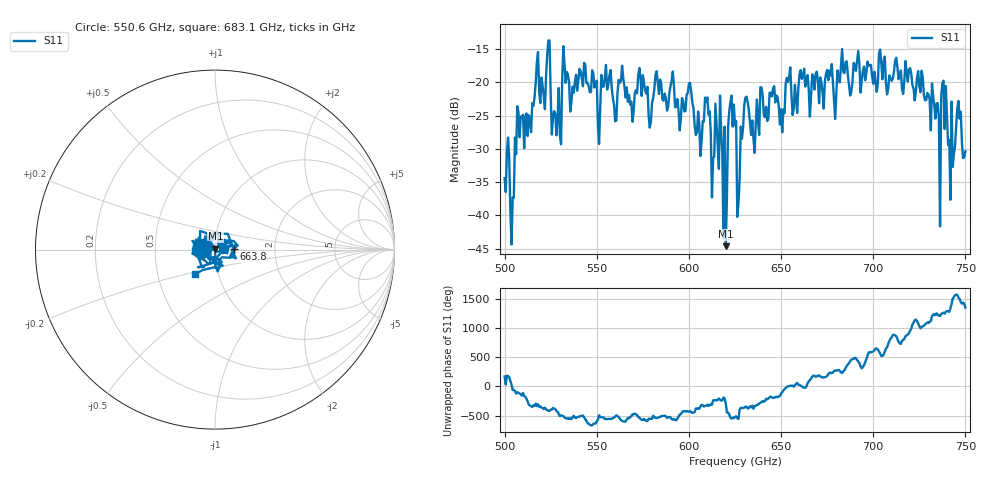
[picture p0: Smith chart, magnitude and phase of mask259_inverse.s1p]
!Created with skrf (http://scikit-rf.org).
# GHz S MA R 50.0
!freq magS11 angS11
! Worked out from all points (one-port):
!   401 points, 500 GHz to 750 GHz, reference 50 ohm
!   lowest |S11| = -44.6 dB at 620 GHz (marker M1), VSWR 1.01, Z = 50.2 + j0.545 ohm
!   |S11| at or under -10 dB: start of sweep to end of sweep
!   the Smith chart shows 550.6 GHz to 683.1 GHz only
!   S11 on the Smith chart (normalised r, x): 550.6 GHz: 0.92, +0.04; 663.8 GHz: 1.23, +0.01; 683.1 GHz: 0.77, -0.22
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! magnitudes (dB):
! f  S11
! 500 GHz  -34.4
! 503.8 GHz  -44.4
! 508.1 GHz  -28.3
! 517.5 GHz  -17.0
! 523.8 GHz  -13.7
! 526.9 GHz  -24.3
! 531.2 GHz  -19.6
! 542.5 GHz  -20.6
! 550.6 GHz  -26.6
! 562.5 GHz  -20.1
! 593.8 GHz  -22.5
! 610 GHz  -22.3
! 620 GHz  -44.6
! 622.5 GHz  -23.0
! 625 GHz  -26.4
! 627.5 GHz  -34.6
! 631.2 GHz  -22.2
! 635 GHz  -28.4
! 656.2 GHz  -24.9
! 663.8 GHz  -19.7
! 683.1 GHz  -15.0
! 687.5 GHz  -22.0
! 718.8 GHz  -19.9
! 735 GHz  -23.1
! 738.1 GHz  -19.8
! 743.1 GHz  -32.7
! 746.2 GHz  -22.8
! 750 GHz  -30.4
